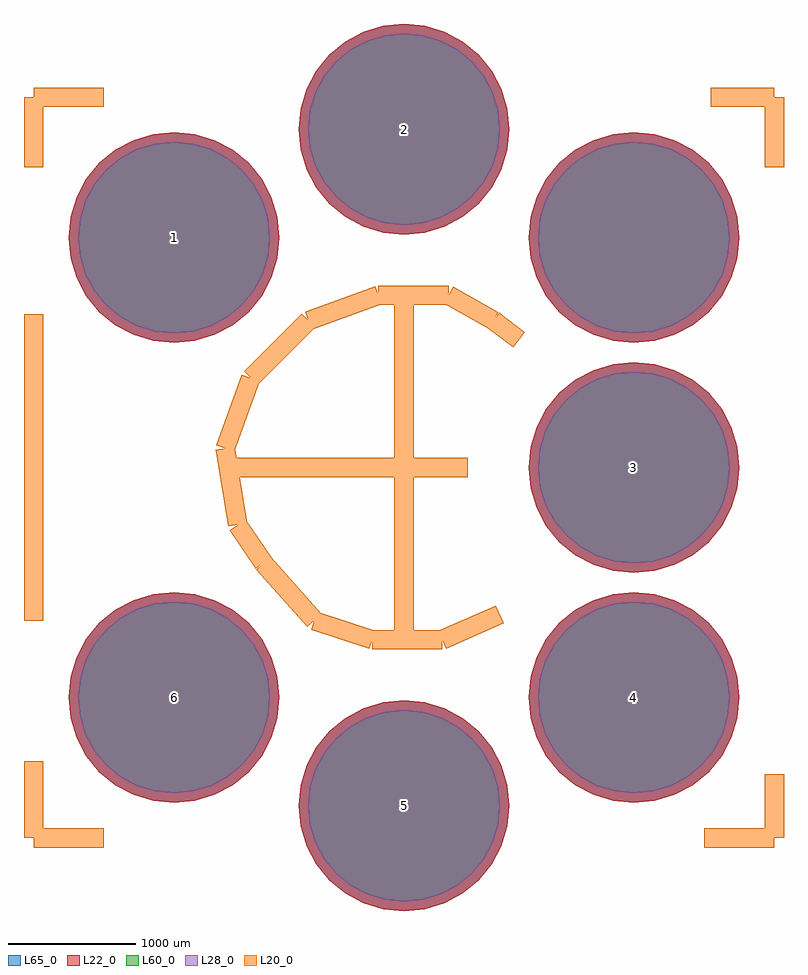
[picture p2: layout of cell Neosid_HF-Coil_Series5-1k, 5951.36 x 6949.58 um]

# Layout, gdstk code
import gdstk
lib = gdstk.Library(unit=1e-6, precision=1e-09)
def P(c, l, *ps):  # polygons
    for p in ps: c.add(gdstk.Polygon(p, *l))
L20_0 = (20, 0)
L22_0 = (22, 0)
L28_0 = (28, 0)
L60_0 = (60, 0)
L65_0 = (65, 0)

neosid_hf_coil_series5_1 = lib.new_cell('Neosid_HF-Coil_Series5-1k')
P(neosid_hf_coil_series5_1, L22_0, [(-975.29,-1800.86),(-991.153,-1639.799),(-1038.133,-1484.928),(-1114.424,-1342.198),(-1217.094,-1217.094),(-1342.198,-1114.424),(-1484.928,-1038.133),(-1639.799,-991.153),(-1800.86,-975.29),(-1961.921,-991.153),(-2116.792,-1038.133),(-2259.522,-1114.424),(-2384.626,-1217.094),(-2487.296,-1342.198),(-2563.587,-1484.928),(-2610.567,-1639.799),(-2626.43,-1800.86),(-2610.567,-1961.921),(-2563.587,-2116.792),(-2487.296,-2259.522),(-2384.626,-2384.626),(-2259.522,-2487.296),(-2116.792,-2563.587),(-1961.921,-2610.567),(-1800.86,-2626.43),(-1639.799,-2610.567),(-1484.928,-2563.587),(-1342.198,-2487.296),(-1217.094,-2384.626),(-1114.424,-2259.522),(-1038.133,-2116.792),(-991.153,-1961.921)],
  [(825.57,-2649.22),(809.707,-2488.159),(762.727,-2333.288),(686.436,-2190.558),(583.766,-2065.454),(458.662,-1962.784),(315.932,-1886.493),(161.061,-1839.513),(0,-1823.65),(-161.061,-1839.513),(-315.932,-1886.493),(-458.662,-1962.784),(-583.766,-2065.454),(-686.436,-2190.558),(-762.727,-2333.288),(-809.707,-2488.159),(-825.57,-2649.22),(-809.707,-2810.281),(-762.727,-2965.152),(-686.436,-3107.882),(-583.766,-3232.986),(-458.662,-3335.656),(-315.932,-3411.947),(-161.061,-3458.927),(0,-3474.79),(161.061,-3458.927),(315.932,-3411.947),(458.662,-3335.656),(583.766,-3232.986),(686.436,-3107.882),(762.727,-2965.152),(809.707,-2810.281)],
  [(2626.43,-1800.86),(2610.567,-1639.799),(2563.587,-1484.928),(2487.296,-1342.198),(2384.626,-1217.094),(2259.522,-1114.424),(2116.792,-1038.133),(1961.921,-991.153),(1800.86,-975.29),(1639.799,-991.153),(1484.928,-1038.133),(1342.198,-1114.424),(1217.094,-1217.094),(1114.424,-1342.198),(1038.133,-1484.928),(991.153,-1639.799),(975.29,-1800.86),(991.153,-1961.921),(1038.133,-2116.792),(1114.424,-2259.522),(1217.094,-2384.626),(1342.198,-2487.296),(1484.928,-2563.587),(1639.799,-2610.567),(1800.86,-2626.43),(1961.921,-2610.567),(2116.792,-2563.587),(2259.522,-2487.296),(2384.626,-2384.626),(2487.296,-2259.522),(2563.587,-2116.792),(2610.567,-1961.921)],
  [(2626.43,0),(2610.567,161.061),(2563.587,315.932),(2487.296,458.662),(2384.626,583.766),(2259.522,686.436),(2116.792,762.727),(1961.921,809.707),(1800.86,825.57),(1639.799,809.707),(1484.928,762.727),(1342.198,686.436),(1217.094,583.766),(1114.424,458.662),(1038.133,315.932),(991.153,161.061),(975.29,0),(991.153,-161.061),(1038.133,-315.932),(1114.424,-458.662),(1217.094,-583.766),(1342.198,-686.436),(1484.928,-762.727),(1639.799,-809.707),(1800.86,-825.57),(1961.921,-809.707),(2116.792,-762.727),(2259.522,-686.436),(2384.626,-583.766),(2487.296,-458.662),(2563.587,-315.932),(2610.567,-161.061)],
  [(2626.43,1800.86),(2610.567,1961.921),(2563.587,2116.792),(2487.296,2259.522),(2384.626,2384.626),(2259.522,2487.296),(2116.792,2563.587),(1961.921,2610.567),(1800.86,2626.43),(1639.799,2610.567),(1484.928,2563.587),(1342.198,2487.296),(1217.094,2384.626),(1114.424,2259.522),(1038.133,2116.792),(991.153,1961.921),(975.29,1800.86),(991.153,1639.799),(1038.133,1484.928),(1114.424,1342.198),(1217.094,1217.094),(1342.198,1114.424),(1484.928,1038.133),(1639.799,991.153),(1800.86,975.29),(1961.921,991.153),(2116.792,1038.133),(2259.522,1114.424),(2384.626,1217.094),(2487.296,1342.198),(2563.587,1484.928),(2610.567,1639.799)],
  [(825.57,2649.22),(809.707,2810.281),(762.727,2965.152),(686.436,3107.882),(583.766,3232.986),(458.662,3335.656),(315.932,3411.947),(161.061,3458.927),(0,3474.79),(-161.061,3458.927),(-315.932,3411.947),(-458.662,3335.656),(-583.766,3232.986),(-686.436,3107.882),(-762.727,2965.152),(-809.707,2810.281),(-825.57,2649.22),(-809.707,2488.159),(-762.727,2333.288),(-686.436,2190.558),(-583.766,2065.454),(-458.662,1962.784),(-315.932,1886.493),(-161.061,1839.513),(0,1823.65),(161.061,1839.513),(315.932,1886.493),(458.662,1962.784),(583.766,2065.454),(686.436,2190.558),(762.727,2333.288),(809.707,2488.159)],
  [(-975.29,1800.86),(-991.153,1961.921),(-1038.133,2116.792),(-1114.424,2259.522),(-1217.094,2384.626),(-1342.198,2487.296),(-1484.928,2563.587),(-1639.799,2610.567),(-1800.86,2626.43),(-1961.921,2610.567),(-2116.792,2563.587),(-2259.522,2487.296),(-2384.626,2384.626),(-2487.296,2259.522),(-2563.587,2116.792),(-2610.567,1961.921),(-2626.43,1800.86),(-2610.567,1639.799),(-2563.587,1484.928),(-2487.296,1342.198),(-2384.626,1217.094),(-2259.522,1114.424),(-2116.792,1038.133),(-1961.921,991.153),(-1800.86,975.29),(-1639.799,991.153),(-1484.928,1038.133),(-1342.198,1114.424),(-1217.094,1217.094),(-1114.424,1342.198),(-1038.133,1484.928),(-991.153,1639.799)])
P(neosid_hf_coil_series5_1, L28_0, [(-1050.29,-1800.86),(-1064.712,-1654.431),(-1107.424,-1513.629),(-1176.784,-1383.866),(-1270.127,-1270.127),(-1383.866,-1176.784),(-1513.629,-1107.424),(-1654.431,-1064.712),(-1800.86,-1050.29),(-1947.289,-1064.712),(-2088.091,-1107.424),(-2217.854,-1176.784),(-2331.593,-1270.127),(-2424.936,-1383.866),(-2494.296,-1513.629),(-2537.008,-1654.431),(-2551.43,-1800.86),(-2537.008,-1947.289),(-2494.296,-2088.091),(-2424.936,-2217.854),(-2331.593,-2331.593),(-2217.854,-2424.936),(-2088.091,-2494.296),(-1947.289,-2537.008),(-1800.86,-2551.43),(-1654.431,-2537.008),(-1513.629,-2494.296),(-1383.866,-2424.936),(-1270.127,-2331.593),(-1176.784,-2217.854),(-1107.424,-2088.091),(-1064.712,-1947.289)],
  [(750.57,-2649.22),(736.148,-2502.791),(693.436,-2361.989),(624.076,-2232.226),(530.733,-2118.487),(416.994,-2025.144),(287.231,-1955.784),(146.429,-1913.072),(0,-1898.65),(-146.429,-1913.072),(-287.231,-1955.784),(-416.994,-2025.144),(-530.733,-2118.487),(-624.076,-2232.226),(-693.436,-2361.989),(-736.148,-2502.791),(-750.57,-2649.22),(-736.148,-2795.649),(-693.436,-2936.451),(-624.076,-3066.214),(-530.733,-3179.953),(-416.994,-3273.296),(-287.231,-3342.656),(-146.429,-3385.368),(0,-3399.79),(146.429,-3385.368),(287.231,-3342.656),(416.994,-3273.296),(530.733,-3179.953),(624.076,-3066.214),(693.436,-2936.451),(736.148,-2795.649)],
  [(2551.43,-1800.86),(2537.008,-1654.431),(2494.296,-1513.629),(2424.936,-1383.866),(2331.593,-1270.127),(2217.854,-1176.784),(2088.091,-1107.424),(1947.289,-1064.712),(1800.86,-1050.29),(1654.431,-1064.712),(1513.629,-1107.424),(1383.866,-1176.784),(1270.127,-1270.127),(1176.784,-1383.866),(1107.424,-1513.629),(1064.712,-1654.431),(1050.29,-1800.86),(1064.712,-1947.289),(1107.424,-2088.091),(1176.784,-2217.854),(1270.127,-2331.593),(1383.866,-2424.936),(1513.629,-2494.296),(1654.431,-2537.008),(1800.86,-2551.43),(1947.289,-2537.008),(2088.091,-2494.296),(2217.854,-2424.936),(2331.593,-2331.593),(2424.936,-2217.854),(2494.296,-2088.091),(2537.008,-1947.289)],
  [(2551.43,0),(2537.008,146.429),(2494.296,287.231),(2424.936,416.994),(2331.593,530.733),(2217.854,624.076),(2088.091,693.436),(1947.289,736.148),(1800.86,750.57),(1654.431,736.148),(1513.629,693.436),(1383.866,624.076),(1270.127,530.733),(1176.784,416.994),(1107.424,287.231),(1064.712,146.429),(1050.29,0),(1064.712,-146.429),(1107.424,-287.231),(1176.784,-416.994),(1270.127,-530.733),(1383.866,-624.076),(1513.629,-693.436),(1654.431,-736.148),(1800.86,-750.57),(1947.289,-736.148),(2088.091,-693.436),(2217.854,-624.076),(2331.593,-530.733),(2424.936,-416.994),(2494.296,-287.231),(2537.008,-146.429)],
  [(2551.43,1800.86),(2537.008,1947.289),(2494.296,2088.091),(2424.936,2217.854),(2331.593,2331.593),(2217.854,2424.936),(2088.091,2494.296),(1947.289,2537.008),(1800.86,2551.43),(1654.431,2537.008),(1513.629,2494.296),(1383.866,2424.936),(1270.127,2331.593),(1176.784,2217.854),(1107.424,2088.091),(1064.712,1947.289),(1050.29,1800.86),(1064.712,1654.431),(1107.424,1513.629),(1176.784,1383.866),(1270.127,1270.127),(1383.866,1176.784),(1513.629,1107.424),(1654.431,1064.712),(1800.86,1050.29),(1947.289,1064.712),(2088.091,1107.424),(2217.854,1176.784),(2331.593,1270.127),(2424.936,1383.866),(2494.296,1513.629),(2537.008,1654.431)],
  [(750.57,2649.22),(736.148,2795.649),(693.436,2936.451),(624.076,3066.214),(530.733,3179.953),(416.994,3273.296),(287.231,3342.656),(146.429,3385.368),(0,3399.79),(-146.429,3385.368),(-287.231,3342.656),(-416.994,3273.296),(-530.733,3179.953),(-624.076,3066.214),(-693.436,2936.451),(-736.148,2795.649),(-750.57,2649.22),(-736.148,2502.791),(-693.436,2361.989),(-624.076,2232.226),(-530.733,2118.487),(-416.994,2025.144),(-287.231,1955.784),(-146.429,1913.072),(0,1898.65),(146.429,1913.072),(287.231,1955.784),(416.994,2025.144),(530.733,2118.487),(624.076,2232.226),(693.436,2361.989),(736.148,2502.791)],
  [(-1050.29,1800.86),(-1064.712,1947.289),(-1107.424,2088.091),(-1176.784,2217.854),(-1270.127,2331.593),(-1383.866,2424.936),(-1513.629,2494.296),(-1654.431,2537.008),(-1800.86,2551.43),(-1947.289,2537.008),(-2088.091,2494.296),(-2217.854,2424.936),(-2331.593,2331.593),(-2424.936,2217.854),(-2494.296,2088.091),(-2537.008,1947.289),(-2551.43,1800.86),(-2537.008,1654.431),(-2494.296,1513.629),(-2424.936,1383.866),(-2331.593,1270.127),(-2217.854,1176.784),(-2088.091,1107.424),(-1947.289,1064.712),(-1800.86,1050.29),(-1654.431,1064.712),(-1513.629,1107.424),(-1383.866,1176.784),(-1270.127,1270.127),(-1176.784,1383.866),(-1107.424,1513.629),(-1064.712,1654.431)])
P(neosid_hf_coil_series5_1, L60_0, [(-1050.29,-1800.86),(-1064.712,-1654.431),(-1107.424,-1513.629),(-1176.784,-1383.866),(-1270.127,-1270.127),(-1383.866,-1176.784),(-1513.629,-1107.424),(-1654.431,-1064.712),(-1800.86,-1050.29),(-1947.289,-1064.712),(-2088.091,-1107.424),(-2217.854,-1176.784),(-2331.593,-1270.127),(-2424.936,-1383.866),(-2494.296,-1513.629),(-2537.008,-1654.431),(-2551.43,-1800.86),(-2537.008,-1947.289),(-2494.296,-2088.091),(-2424.936,-2217.854),(-2331.593,-2331.593),(-2217.854,-2424.936),(-2088.091,-2494.296),(-1947.289,-2537.008),(-1800.86,-2551.43),(-1654.431,-2537.008),(-1513.629,-2494.296),(-1383.866,-2424.936),(-1270.127,-2331.593),(-1176.784,-2217.854),(-1107.424,-2088.091),(-1064.712,-1947.289)],
  [(750.57,-2649.22),(736.148,-2502.791),(693.436,-2361.989),(624.076,-2232.226),(530.733,-2118.487),(416.994,-2025.144),(287.231,-1955.784),(146.429,-1913.072),(0,-1898.65),(-146.429,-1913.072),(-287.231,-1955.784),(-416.994,-2025.144),(-530.733,-2118.487),(-624.076,-2232.226),(-693.436,-2361.989),(-736.148,-2502.791),(-750.57,-2649.22),(-736.148,-2795.649),(-693.436,-2936.451),(-624.076,-3066.214),(-530.733,-3179.953),(-416.994,-3273.296),(-287.231,-3342.656),(-146.429,-3385.368),(0,-3399.79),(146.429,-3385.368),(287.231,-3342.656),(416.994,-3273.296),(530.733,-3179.953),(624.076,-3066.214),(693.436,-2936.451),(736.148,-2795.649)],
  [(2551.43,-1800.86),(2537.008,-1654.431),(2494.296,-1513.629),(2424.936,-1383.866),(2331.593,-1270.127),(2217.854,-1176.784),(2088.091,-1107.424),(1947.289,-1064.712),(1800.86,-1050.29),(1654.431,-1064.712),(1513.629,-1107.424),(1383.866,-1176.784),(1270.127,-1270.127),(1176.784,-1383.866),(1107.424,-1513.629),(1064.712,-1654.431),(1050.29,-1800.86),(1064.712,-1947.289),(1107.424,-2088.091),(1176.784,-2217.854),(1270.127,-2331.593),(1383.866,-2424.936),(1513.629,-2494.296),(1654.431,-2537.008),(1800.86,-2551.43),(1947.289,-2537.008),(2088.091,-2494.296),(2217.854,-2424.936),(2331.593,-2331.593),(2424.936,-2217.854),(2494.296,-2088.091),(2537.008,-1947.289)],
  [(2551.43,0),(2537.008,146.429),(2494.296,287.231),(2424.936,416.994),(2331.593,530.733),(2217.854,624.076),(2088.091,693.436),(1947.289,736.148),(1800.86,750.57),(1654.431,736.148),(1513.629,693.436),(1383.866,624.076),(1270.127,530.733),(1176.784,416.994),(1107.424,287.231),(1064.712,146.429),(1050.29,0),(1064.712,-146.429),(1107.424,-287.231),(1176.784,-416.994),(1270.127,-530.733),(1383.866,-624.076),(1513.629,-693.436),(1654.431,-736.148),(1800.86,-750.57),(1947.289,-736.148),(2088.091,-693.436),(2217.854,-624.076),(2331.593,-530.733),(2424.936,-416.994),(2494.296,-287.231),(2537.008,-146.429)],
  [(2551.43,1800.86),(2537.008,1947.289),(2494.296,2088.091),(2424.936,2217.854),(2331.593,2331.593),(2217.854,2424.936),(2088.091,2494.296),(1947.289,2537.008),(1800.86,2551.43),(1654.431,2537.008),(1513.629,2494.296),(1383.866,2424.936),(1270.127,2331.593),(1176.784,2217.854),(1107.424,2088.091),(1064.712,1947.289),(1050.29,1800.86),(1064.712,1654.431),(1107.424,1513.629),(1176.784,1383.866),(1270.127,1270.127),(1383.866,1176.784),(1513.629,1107.424),(1654.431,1064.712),(1800.86,1050.29),(1947.289,1064.712),(2088.091,1107.424),(2217.854,1176.784),(2331.593,1270.127),(2424.936,1383.866),(2494.296,1513.629),(2537.008,1654.431)],
  [(750.57,2649.22),(736.148,2795.649),(693.436,2936.451),(624.076,3066.214),(530.733,3179.953),(416.994,3273.296),(287.231,3342.656),(146.429,3385.368),(0,3399.79),(-146.429,3385.368),(-287.231,3342.656),(-416.994,3273.296),(-530.733,3179.953),(-624.076,3066.214),(-693.436,2936.451),(-736.148,2795.649),(-750.57,2649.22),(-736.148,2502.791),(-693.436,2361.989),(-624.076,2232.226),(-530.733,2118.487),(-416.994,2025.144),(-287.231,1955.784),(-146.429,1913.072),(0,1898.65),(146.429,1913.072),(287.231,1955.784),(416.994,2025.144),(530.733,2118.487),(624.076,2232.226),(693.436,2361.989),(736.148,2502.791)],
  [(-1050.29,1800.86),(-1064.712,1947.289),(-1107.424,2088.091),(-1176.784,2217.854),(-1270.127,2331.593),(-1383.866,2424.936),(-1513.629,2494.296),(-1654.431,2537.008),(-1800.86,2551.43),(-1947.289,2537.008),(-2088.091,2494.296),(-2217.854,2424.936),(-2331.593,2331.593),(-2424.936,2217.854),(-2494.296,2088.091),(-2537.008,1947.289),(-2551.43,1800.86),(-2537.008,1654.431),(-2494.296,1513.629),(-2424.936,1383.866),(-2331.593,1270.127),(-2217.854,1176.784),(-2088.091,1107.424),(-1947.289,1064.712),(-1800.86,1050.29),(-1654.431,1064.712),(-1513.629,1107.424),(-1383.866,1176.784),(-1270.127,1270.127),(-1176.784,1383.866),(-1107.424,1513.629),(-1064.712,1654.431)])
P(neosid_hf_coil_series5_1, L65_0, [(-975.29,-1800.86),(-991.153,-1639.799),(-1038.133,-1484.928),(-1114.424,-1342.198),(-1217.094,-1217.094),(-1342.198,-1114.424),(-1484.928,-1038.133),(-1639.799,-991.153),(-1800.86,-975.29),(-1961.921,-991.153),(-2116.792,-1038.133),(-2259.522,-1114.424),(-2384.626,-1217.094),(-2487.296,-1342.198),(-2563.587,-1484.928),(-2610.567,-1639.799),(-2626.43,-1800.86),(-2610.567,-1961.921),(-2563.587,-2116.792),(-2487.296,-2259.522),(-2384.626,-2384.626),(-2259.522,-2487.296),(-2116.792,-2563.587),(-1961.921,-2610.567),(-1800.86,-2626.43),(-1639.799,-2610.567),(-1484.928,-2563.587),(-1342.198,-2487.296),(-1217.094,-2384.626),(-1114.424,-2259.522),(-1038.133,-2116.792),(-991.153,-1961.921)],
  [(825.57,-2649.22),(809.707,-2488.159),(762.727,-2333.288),(686.436,-2190.558),(583.766,-2065.454),(458.662,-1962.784),(315.932,-1886.493),(161.061,-1839.513),(0,-1823.65),(-161.061,-1839.513),(-315.932,-1886.493),(-458.662,-1962.784),(-583.766,-2065.454),(-686.436,-2190.558),(-762.727,-2333.288),(-809.707,-2488.159),(-825.57,-2649.22),(-809.707,-2810.281),(-762.727,-2965.152),(-686.436,-3107.882),(-583.766,-3232.986),(-458.662,-3335.656),(-315.932,-3411.947),(-161.061,-3458.927),(0,-3474.79),(161.061,-3458.927),(315.932,-3411.947),(458.662,-3335.656),(583.766,-3232.986),(686.436,-3107.882),(762.727,-2965.152),(809.707,-2810.281)],
  [(2626.43,-1800.86),(2610.567,-1639.799),(2563.587,-1484.928),(2487.296,-1342.198),(2384.626,-1217.094),(2259.522,-1114.424),(2116.792,-1038.133),(1961.921,-991.153),(1800.86,-975.29),(1639.799,-991.153),(1484.928,-1038.133),(1342.198,-1114.424),(1217.094,-1217.094),(1114.424,-1342.198),(1038.133,-1484.928),(991.153,-1639.799),(975.29,-1800.86),(991.153,-1961.921),(1038.133,-2116.792),(1114.424,-2259.522),(1217.094,-2384.626),(1342.198,-2487.296),(1484.928,-2563.587),(1639.799,-2610.567),(1800.86,-2626.43),(1961.921,-2610.567),(2116.792,-2563.587),(2259.522,-2487.296),(2384.626,-2384.626),(2487.296,-2259.522),(2563.587,-2116.792),(2610.567,-1961.921)],
  [(2626.43,0),(2610.567,161.061),(2563.587,315.932),(2487.296,458.662),(2384.626,583.766),(2259.522,686.436),(2116.792,762.727),(1961.921,809.707),(1800.86,825.57),(1639.799,809.707),(1484.928,762.727),(1342.198,686.436),(1217.094,583.766),(1114.424,458.662),(1038.133,315.932),(991.153,161.061),(975.29,0),(991.153,-161.061),(1038.133,-315.932),(1114.424,-458.662),(1217.094,-583.766),(1342.198,-686.436),(1484.928,-762.727),(1639.799,-809.707),(1800.86,-825.57),(1961.921,-809.707),(2116.792,-762.727),(2259.522,-686.436),(2384.626,-583.766),(2487.296,-458.662),(2563.587,-315.932),(2610.567,-161.061)],
  [(2626.43,1800.86),(2610.567,1961.921),(2563.587,2116.792),(2487.296,2259.522),(2384.626,2384.626),(2259.522,2487.296),(2116.792,2563.587),(1961.921,2610.567),(1800.86,2626.43),(1639.799,2610.567),(1484.928,2563.587),(1342.198,2487.296),(1217.094,2384.626),(1114.424,2259.522),(1038.133,2116.792),(991.153,1961.921),(975.29,1800.86),(991.153,1639.799),(1038.133,1484.928),(1114.424,1342.198),(1217.094,1217.094),(1342.198,1114.424),(1484.928,1038.133),(1639.799,991.153),(1800.86,975.29),(1961.921,991.153),(2116.792,1038.133),(2259.522,1114.424),(2384.626,1217.094),(2487.296,1342.198),(2563.587,1484.928),(2610.567,1639.799)],
  [(825.57,2649.22),(809.707,2810.281),(762.727,2965.152),(686.436,3107.882),(583.766,3232.986),(458.662,3335.656),(315.932,3411.947),(161.061,3458.927),(0,3474.79),(-161.061,3458.927),(-315.932,3411.947),(-458.662,3335.656),(-583.766,3232.986),(-686.436,3107.882),(-762.727,2965.152),(-809.707,2810.281),(-825.57,2649.22),(-809.707,2488.159),(-762.727,2333.288),(-686.436,2190.558),(-583.766,2065.454),(-458.662,1962.784),(-315.932,1886.493),(-161.061,1839.513),(0,1823.65),(161.061,1839.513),(315.932,1886.493),(458.662,1962.784),(583.766,2065.454),(686.436,2190.558),(762.727,2333.288),(809.707,2488.159)],
  [(-975.29,1800.86),(-991.153,1961.921),(-1038.133,2116.792),(-1114.424,2259.522),(-1217.094,2384.626),(-1342.198,2487.296),(-1484.928,2563.587),(-1639.799,2610.567),(-1800.86,2626.43),(-1961.921,2610.567),(-2116.792,2563.587),(-2259.522,2487.296),(-2384.626,2384.626),(-2487.296,2259.522),(-2563.587,2116.792),(-2610.567,1961.921),(-2626.43,1800.86),(-2610.567,1639.799),(-2563.587,1484.928),(-2487.296,1342.198),(-2384.626,1217.094),(-2259.522,1114.424),(-2116.792,1038.133),(-1961.921,991.153),(-1800.86,975.29),(-1639.799,991.153),(-1484.928,1038.133),(-1342.198,1114.424),(-1217.094,1217.094),(-1114.424,1342.198),(-1038.133,1484.928),(-991.153,1639.799)])
neosid_hf_coil_series5_1.add(gdstk.FlexPath([(2900.68,2900.68),(2400.3,2900.68)], 149.998, ends="flush", simple_path=True, layer=20, datatype=0))  # L20_0
neosid_hf_coil_series5_1.add(gdstk.FlexPath([(2900.68,2900.68),(2900.68,2349.5)], 149.998, ends="flush", simple_path=True, layer=20, datatype=0))  # L20_0
neosid_hf_coil_series5_1.add(gdstk.FlexPath([(2900.68,-2900.68),(2900.68,-2400.3)], 149.998, ends="flush", simple_path=True, layer=20, datatype=0))  # L20_0
neosid_hf_coil_series5_1.add(gdstk.FlexPath([(2900.68,-2900.68),(2349.5,-2900.68)], 149.998, ends="flush", simple_path=True, layer=20, datatype=0))  # L20_0
neosid_hf_coil_series5_1.add(gdstk.FlexPath([(-2900.68,-2900.68),(-2900.68,-2301.24)], 149.998, ends="flush", simple_path=True, layer=20, datatype=0))  # L20_0
neosid_hf_coil_series5_1.add(gdstk.FlexPath([(-2900.68,-2900.68),(-2349.5,-2900.68)], 149.998, ends="flush", simple_path=True, layer=20, datatype=0))  # L20_0
neosid_hf_coil_series5_1.add(gdstk.FlexPath([(-2900.68,-1198.88),(-2900.68,1198.88)], 149.998, ends="flush", simple_path=True, layer=20, datatype=0))  # L20_0
neosid_hf_coil_series5_1.add(gdstk.FlexPath([(-2900.68,2900.68),(-2349.5,2900.68)], 149.998, ends="flush", simple_path=True, layer=20, datatype=0))  # L20_0
neosid_hf_coil_series5_1.add(gdstk.FlexPath([(-2900.68,2900.68),(-2900.68,2349.5)], 149.998, ends="flush", simple_path=True, layer=20, datatype=0))  # L20_0
neosid_hf_coil_series5_1.add(gdstk.FlexPath([(299.72,-1348.74),(749.3,-1150.62)], 149.998, ends="flush", simple_path=True, layer=20, datatype=0))  # L20_0
neosid_hf_coil_series5_1.add(gdstk.FlexPath([(-248.92,-1348.74),(299.72,-1348.74)], 149.998, ends="flush", simple_path=True, layer=20, datatype=0))  # L20_0
neosid_hf_coil_series5_1.add(gdstk.FlexPath([(-701.04,-1198.88),(-248.92,-1348.74)], 149.998, ends="flush", simple_path=True, layer=20, datatype=0))  # L20_0
neosid_hf_coil_series5_1.add(gdstk.FlexPath([(-1099.82,-749.3),(-701.04,-1198.88)], 149.998, ends="flush", simple_path=True, layer=20, datatype=0))  # L20_0
neosid_hf_coil_series5_1.add(gdstk.FlexPath([(-1300.48,-449.58),(-1099.82,-749.3)], 149.998, ends="flush", simple_path=True, layer=20, datatype=0))  # L20_0
neosid_hf_coil_series5_1.add(gdstk.FlexPath([(-1399.54,149.86),(-1300.48,-449.58)], 149.998, ends="flush", simple_path=True, layer=20, datatype=0))  # L20_0
neosid_hf_coil_series5_1.add(gdstk.FlexPath([(-1198.88,701.04),(-1399.54,149.86)], 149.998, ends="flush", simple_path=True, layer=20, datatype=0))  # L20_0
neosid_hf_coil_series5_1.add(gdstk.FlexPath([(-749.3,1150.62),(-1198.88,701.04)], 149.998, ends="flush", simple_path=True, layer=20, datatype=0))  # L20_0
neosid_hf_coil_series5_1.add(gdstk.FlexPath([(-200.66,1348.74),(-749.3,1150.62)], 149.998, ends="flush", simple_path=True, layer=20, datatype=0))  # L20_0
neosid_hf_coil_series5_1.add(gdstk.FlexPath([(350.52,1348.74),(-200.66,1348.74)], 149.998, ends="flush", simple_path=True, layer=20, datatype=0))  # L20_0
neosid_hf_coil_series5_1.add(gdstk.FlexPath([(701.04,1150.62),(350.52,1348.74)], 149.998, ends="flush", simple_path=True, layer=20, datatype=0))  # L20_0
neosid_hf_coil_series5_1.add(gdstk.FlexPath([(899.16,1000.76),(701.04,1150.62)], 149.998, ends="flush", simple_path=True, layer=20, datatype=0))  # L20_0
neosid_hf_coil_series5_1.add(gdstk.FlexPath([(0,1348.74),(0,-1300.48)], 149.998, ends="flush", simple_path=True, layer=20, datatype=0))  # L20_0
neosid_hf_coil_series5_1.add(gdstk.FlexPath([(-1399.54,0),(500.38,0)], 149.998, ends="flush", simple_path=True, layer=20, datatype=0))  # L20_0
neosid_hf_coil_series5_1.add(gdstk.Label('6', (-1800.86,-1800.86), layer=28, texttype=0))
neosid_hf_coil_series5_1.add(gdstk.Label('5', (0,-2649.22), layer=28, texttype=0))
neosid_hf_coil_series5_1.add(gdstk.Label('4', (1800.86,-1800.86), layer=28, texttype=0))
neosid_hf_coil_series5_1.add(gdstk.Label('3', (1800.86,0), layer=28, texttype=0))
neosid_hf_coil_series5_1.add(gdstk.Label('2', (0,2649.22), layer=28, texttype=0))
neosid_hf_coil_series5_1.add(gdstk.Label('1', (-1800.86,1800.86), layer=28, texttype=0))
neosid_hf_coil_series5_1.add(gdstk.Label('type', (0,-5151.12), layer=9, texttype=0))
neosid_hf_coil_series5_1.add(gdstk.Label('devicename', (200.66,5049.52), layer=9, texttype=0))

lib.write_gds('Neosid_HF-Coil_Series5-1k.gds')
